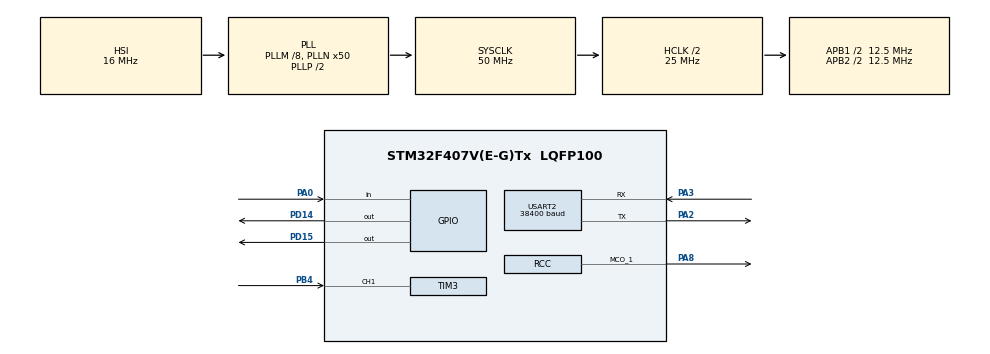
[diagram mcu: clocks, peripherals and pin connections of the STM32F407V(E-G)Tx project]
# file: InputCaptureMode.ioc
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Mcu.Family=STM32F4
PC15-OSC32_OUT.Mode=LSE-External-Oscillator
RCC.CortexFreq_Value=25000000
Dma.TIM3_CH1/TRIG.0.MemDataAlignment=DMA_MDATAALIGN_HALFWORD
Dma.TIM3_CH1/TRIG.0.PeriphInc=DMA_PINC_DISABLE
Dma.TIM3_CH1/TRIG.0.MemInc=DMA_MINC_ENABLE
RCC.APB1CLKDivider=RCC_HCLK_DIV2
PC14-OSC32_IN.Signal=RCC_OSC32_IN
NVIC.DMA1_Stream4_IRQn=true\:0\:0\:false\:false\:true\:false\:true
USART2.BaudRate=38400
RCC.SYSCLKSource=RCC_SYSCLKSOURCE_PLLCLK
ProjectManager.StackSize=0x400
PA0-WKUP.Signal=GPIO_Input
PA3.Mode=Asynchronous
ProjectManager.TargetToolchain=STM32CubeIDE
RCC.HCLKFreq_Value=25000000
RCC.APB2TimFreq_Value=25000000
PC15-OSC32_OUT.Signal=RCC_OSC32_OUT
RCC.AHBFreq_Value=25000000
RCC.HSE_VALUE=8000000
TIM3.Channel-Input_Capture1_from_TI1=TIM_CHANNEL_1
board=STM32F407G-DISC1
RCC.VCOOutputFreq_Value=100000000
RCC.RCC_MCO1Source=RCC_MCO1SOURCE_LSE
RCC.APB2Freq_Value=12500000
PC14-OSC32_IN.Mode=LSE-External-Oscillator
Dma.TIM3_CH1/TRIG.0.PeriphDataAlignment=DMA_PDATAALIGN_HALFWORD
Dma.TIM3_CH1/TRIG.0.Priority=DMA_PRIORITY_LOW
RCC.RCC_MCODiv2=RCC_MCODIV_5
PA8.Signal=RCC_MCO_1
RCC.AHBCLKDivider=RCC_SYSCLK_DIV2
SH.S_TIM3_CH1.0=TIM3_CH1,Input_Capture1_from_TI1
Mcu.Name=STM32F407V(E-G)Tx
Dma.TIM3_CH1/TRIG.0.FIFOMode=DMA_FIFOMODE_DISABLE
PA2.Signal=USART2_TX
PD14.Signal=GPIO_Output
Dma.TIM3_CH1/TRIG.0.Mode=DMA_NORMAL
RCC.48MHZClocksFreq_Value=14285714.285714285
RCC.SYSCLKFreq_VALUE=50000000
Mcu.Package=LQFP100
USART2.VirtualMode=VM_ASYNC
Dma.TIM3_CH1/TRIG.0.Direction=DMA_PERIPH_TO_MEMORY
ProjectManager.HeapSize=0x200
RCC.HSI_VALUE=16000000
RCC.PLLQ=7
NVIC.PriorityGroup=NVIC_PRIORITYGROUP_0
RCC.APB2CLKDivider=RCC_HCLK_DIV2
Dma.TIM3_CH1/TRIG.0.Instance=DMA1_Stream4
RCC.PLLM=8
RCC.PLLN=50
RCC.APB1TimFreq_Value=25000000
PA2.Mode=Asynchronous
PA8.Mode=Clock-out-1
Dma.Request0=TIM3_CH1/TRIG
RCC.APB1Freq_Value=12500000
PD15.Signal=GPIO_Output
VP_TIM3_VS_ClockSourceINT.Mode=Internal
PB4.Signal=S_TIM3_CH1
PA3.Signal=USART2_RX

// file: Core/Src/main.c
/* USER CODE BEGIN Header */
/**
  ******************************************************************************
  * @file           : main.c
  * @brief          : Main program body
  */
/* USER CODE END Header */
#include "main.h"

/* USER CODE BEGIN Includes */
#include <stdio.h>
#include <string.h>
/* USER CODE END Includes */

TIM_HandleTypeDef htim3;
DMA_HandleTypeDef hdma_tim3_ch1_trig;

UART_HandleTypeDef huart2;

void SystemClock_Config(void);
static void MX_GPIO_Init(void);
static void MX_DMA_Init(void);
static void MX_TIM3_Init(void);
static void MX_USART2_UART_Init(void);

/* USER CODE BEGIN 0 */
uint16_t captures[2];
float frequency = 0;
uint32_t period = 0;
volatile uint8_t captureDone = 0;
/* USER CODE END 0 */

int main(void)
{
  /* USER CODE BEGIN 1 */
	  uint16_t diffCapture = 0;
	  char msg[80];
  /* USER CODE END 1 */

  /* MCU Configuration--------------------------------------------------------*/

  /* Reset of all peripherals, Initializes the Flash interface and the Systick. */
  HAL_Init();

  /* Configure the system clock */
  SystemClock_Config();

  /* Initialize all configured peripherals */
  MX_GPIO_Init();
  MX_DMA_Init();
  MX_TIM3_Init();
  MX_USART2_UART_Init();
  /* USER CODE BEGIN 2 */
  HAL_TIM_IC_Start_DMA(&htim3, TIM_CHANNEL_1, (uint32_t*)captures, 2);
  /* USER CODE END 2 */

  /* Infinite loop */
  /* USER CODE BEGIN WHILE */
  while (1)
  {
	if(captureDone != 0){
		if(captures[1] >= captures[0]){
			diffCapture = captures[1] - captures[0];
		}else{
			diffCapture = (htim3.Instance->ARR - captures[0]) + captures[1];
		}

		frequency = (float) HAL_RCC_GetHCLKFreq() / (htim3.Instance->PSC + 1);
		frequency = (float) frequency / diffCapture;

		sprintf(msg, "\r\nT1: %d, T2: %d, input frequency: %.3f, HCLK frequency: %ld, T2 - T1: %d\r\n", captures[0], captures[1], frequency, HAL_RCC_GetHCLKFreq(), diffCapture);
		HAL_UART_Transmit(&huart2, (uint8_t*)msg, strlen(msg), HAL_MAX_DELAY);
		while(1);
	}
    /* USER CODE END WHILE */

  }
}

void SystemClock_Config(void)
{
  RCC_OscInitTypeDef RCC_OscInitStruct = {0};
  RCC_ClkInitTypeDef RCC_ClkInitStruct = {0};

  /** Configure the main internal regulator output voltage
  */
  __HAL_RCC_PWR_CLK_ENABLE();
  __HAL_PWR_VOLTAGESCALING_CONFIG(PWR_REGULATOR_VOLTAGE_SCALE1);
  /** Initializes the RCC Oscillators according to the specified parameters
  * in the RCC_OscInitTypeDef structure.
  */
  RCC_OscInitStruct.OscillatorType = RCC_OSCILLATORTYPE_HSI|RCC_OSCILLATORTYPE_LSE;
  RCC_OscInitStruct.LSEState = RCC_LSE_ON;
  RCC_OscInitStruct.HSIState = RCC_HSI_ON;
  RCC_OscInitStruct.HSICalibrationValue = RCC_HSICALIBRATION_DEFAULT;
  RCC_OscInitStruct.PLL.PLLState = RCC_PLL_ON;
  RCC_OscInitStruct.PLL.PLLSource = RCC_PLLSOURCE_HSI;
  RCC_OscInitStruct.PLL.PLLM = 8;
  RCC_OscInitStruct.PLL.PLLN = 50;
  RCC_OscInitStruct.PLL.PLLP = RCC_PLLP_DIV2;
  RCC_OscInitStruct.PLL.PLLQ = 7;
  if (HAL_RCC_OscConfig(&RCC_OscInitStruct) != HAL_OK)
  {
    Error_Handler();
  }
  /** Initializes the CPU, AHB and APB buses clocks
  */
  RCC_ClkInitStruct.ClockType = RCC_CLOCKTYPE_HCLK|RCC_CLOCKTYPE_SYSCLK
                              |RCC_CLOCKTYPE_PCLK1|RCC_CLOCKTYPE_PCLK2;
  RCC_ClkInitStruct.SYSCLKSource = RCC_SYSCLKSOURCE_PLLCLK;
  RCC_ClkInitStruct.AHBCLKDivider = RCC_SYSCLK_DIV2;
  RCC_ClkInitStruct.APB1CLKDivider = RCC_HCLK_DIV2;
  RCC_ClkInitStruct.APB2CLKDivider = RCC_HCLK_DIV2;

  if (HAL_RCC_ClockConfig(&RCC_ClkInitStruct, FLASH_LATENCY_0) != HAL_OK)
  {
    Error_Handler();
  }
  HAL_RCC_MCOConfig(RCC_MCO1, RCC_MCO1SOURCE_LSE, RCC_MCODIV_1);
}

static void MX_TIM3_Init(void)
{

  TIM_ClockConfigTypeDef sClockSourceConfig = {0};
  TIM_MasterConfigTypeDef sMasterConfig = {0};
  TIM_IC_InitTypeDef sConfigIC = {0};

  htim3.Instance = TIM3;
  htim3.Init.Prescaler = 0;
  htim3.Init.CounterMode = TIM_COUNTERMODE_UP;
  htim3.Init.Period = 65535;
  htim3.Init.ClockDivision = TIM_CLOCKDIVISION_DIV1;
  htim3.Init.AutoReloadPreload = TIM_AUTORELOAD_PRELOAD_DISABLE;
  if (HAL_TIM_Base_Init(&htim3) != HAL_OK)
  {
    Error_Handler();
  }
  sClockSourceConfig.ClockSource = TIM_CLOCKSOURCE_INTERNAL;
  if (HAL_TIM_ConfigClockSource(&htim3, &sClockSourceConfig) != HAL_OK)
  {
    Error_Handler();
  }
  if (HAL_TIM_IC_Init(&htim3) != HAL_OK)
  {
    Error_Handler();
  }
  sMasterConfig.MasterOutputTrigger = TIM_TRGO_RESET;
  sMasterConfig.MasterSlaveMode = TIM_MASTERSLAVEMODE_DISABLE;
  if (HAL_TIMEx_MasterConfigSynchronization(&htim3, &sMasterConfig) != HAL_OK)
  {
    Error_Handler();
  }
  sConfigIC.ICPolarity = TIM_INPUTCHANNELPOLARITY_RISING;
  sConfigIC.ICSelection = TIM_ICSELECTION_DIRECTTI;
  sConfigIC.ICPrescaler = TIM_ICPSC_DIV1;
  sConfigIC.ICFilter = 0;
  if (HAL_TIM_IC_ConfigChannel(&htim3, &sConfigIC, TIM_CHANNEL_1) != HAL_OK)
  {
    Error_Handler();
  }

}

static void MX_USART2_UART_Init(void)
{

  huart2.Instance = USART2;
  huart2.Init.BaudRate = 38400;
  huart2.Init.WordLength = UART_WORDLENGTH_8B;
  huart2.Init.StopBits = UART_STOPBITS_1;
  huart2.Init.Parity = UART_PARITY_NONE;
  huart2.Init.Mode = UART_MODE_TX_RX;
  huart2.Init.HwFlowCtl = UART_HWCONTROL_NONE;
  huart2.Init.OverSampling = UART_OVERSAMPLING_16;
  if (HAL_UART_Init(&huart2) != HAL_OK)
  {
    Error_Handler();
  }

}

static void MX_DMA_Init(void)
{

  /* DMA controller clock enable */
  __HAL_RCC_DMA1_CLK_ENABLE();

  /* DMA interrupt init */
  /* DMA1_Stream4_IRQn interrupt configuration */
  HAL_NVIC_SetPriority(DMA1_Stream4_IRQn, 0, 0);
  HAL_NVIC_EnableIRQ(DMA1_Stream4_IRQn);

}

static void MX_GPIO_Init(void)
{
  GPIO_InitTypeDef GPIO_InitStruct = {0};

  /* GPIO Ports Clock Enable */
  __HAL_RCC_GPIOC_CLK_ENABLE();
  __HAL_RCC_GPIOA_CLK_ENABLE();
  __HAL_RCC_GPIOD_CLK_ENABLE();
  __HAL_RCC_GPIOB_CLK_ENABLE();

  /*Configure GPIO pin Output Level */
  HAL_GPIO_WritePin(GPIOD, GPIO_PIN_14|GPIO_PIN_15, GPIO_PIN_RESET);

  /*Configure GPIO pin : PA0 */
  GPIO_InitStruct.Pin = GPIO_PIN_0;
  GPIO_InitStruct.Mode = GPIO_MODE_INPUT;
  GPIO_InitStruct.Pull = GPIO_NOPULL;
  HAL_GPIO_Init(GPIOA, &GPIO_InitStruct);

  /*Configure GPIO pins : PD14 PD15 */
  GPIO_InitStruct.Pin = GPIO_PIN_14|GPIO_PIN_15;
  GPIO_InitStruct.Mode = GPIO_MODE_OUTPUT_PP;
  GPIO_InitStruct.Pull = GPIO_NOPULL;
  GPIO_InitStruct.Speed = GPIO_SPEED_FREQ_LOW;
  HAL_GPIO_Init(GPIOD, &GPIO_InitStruct);

  /*Configure GPIO pin : PA8 */
  GPIO_InitStruct.Pin = GPIO_PIN_8;
  GPIO_InitStruct.Mode = GPIO_MODE_AF_PP;
  GPIO_InitStruct.Pull = GPIO_NOPULL;
  GPIO_InitStruct.Speed = GPIO_SPEED_FREQ_LOW;
  GPIO_InitStruct.Alternate = GPIO_AF0_MCO;
  HAL_GPIO_Init(GPIOA, &GPIO_InitStruct);

}

/* USER CODE BEGIN 4 */
void HAL_TIM_IC_CaptureCallback(TIM_HandleTypeDef *htim){
	if (htim->Channel == HAL_TIM_ACTIVE_CHANNEL_1){
		captureDone = 1;
	}
}
/* USER CODE END 4 */

void Error_Handler(void)
{
  __disable_irq();
  while (1)
  {
  }
}

/************************ (C) COPYRIGHT STMicroelectronics *****END OF FILE****/
